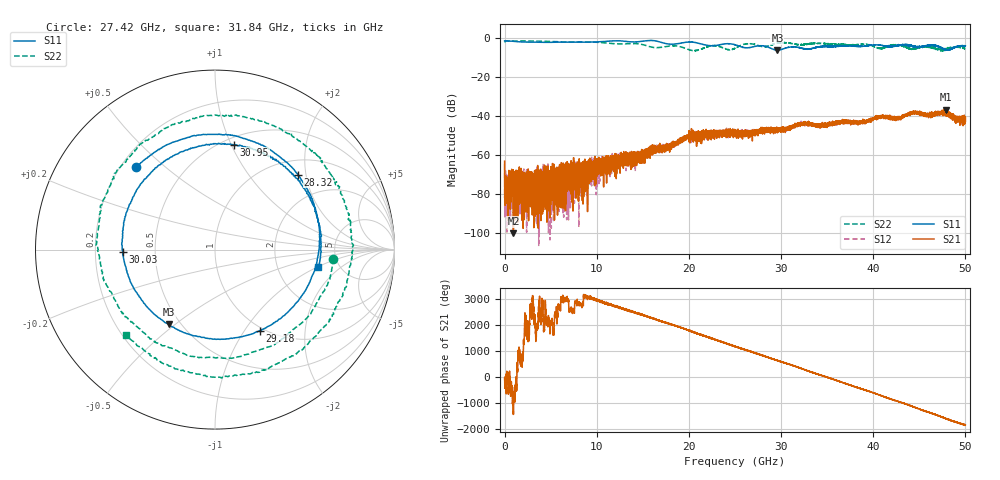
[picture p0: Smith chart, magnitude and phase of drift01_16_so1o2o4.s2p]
!Created with skrf (http://scikit-rf.org).
# Hz S RI R 50.0
!freq ReS11 ImS11 ReS21 ImS21 ReS12 ImS12 ReS22 ImS22
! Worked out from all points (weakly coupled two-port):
!   10001 points, 300 kHz to 50 GHz, reference 50 ohm
!   highest |S21| = -36.73 dB at 47.93 GHz (marker M1); lowest = -100.2 dB at 955.3 MHz (marker M2)
!   lowest |S11| = -6.2 dB at 29.61 GHz (marker M3), VSWR 2.92, Z = 21.7 - j23.8 ohm
!   |S11| at or under -10 dB: nowhere
!   |S22| runs from -6.7 to -1.4 dB; largest |S21 - S12| = 0.0038
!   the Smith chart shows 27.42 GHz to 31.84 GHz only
!   S11 on the Smith chart (normalised r, x): 27.42 GHz: 0.26, +0.40; 28.32 GHz: 1.32, +1.80; 29.18 GHz: 0.96, -1.18; 30.03 GHz: 0.32, -0.01; 30.95 GHz: 0.57, +1.02; 31.84 GHz: 3.46, -1.04
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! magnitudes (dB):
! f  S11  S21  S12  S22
! 300 kHz  -1.3  -63.1  -64.8  -2.1
! 255.3 MHz  -1.4  -76.8  -75.2  -1.4
! 955.3 MHz  -1.6  -100.2  -71.8  -1.5
! 5.695 GHz  -2.0  -74.6  -73.4  -1.7
! 8.335 GHz  -2.0  -65.9  -76.3  -1.8
! 16.67 GHz  -1.7  -56.3  -55.4  -4.8
! 20.22 GHz  -1.9  -51.8  -50.1  -6.1
! 22.6 GHz  -3.9  -50.0  -47.7  -3.8
! 25 GHz  -3.3  -50.0  -49.3  -5.1
! 27.42 GHz  -3.9  -48.1  -47.9  -3.6
! 28.32 GHz  -4.1  -47.0  -47.3  -4.2
! 29.18 GHz  -5.7  -47.0  -46.3  -3.1
! 29.61 GHz  -6.2  -46.6  -48.4  -2.5
! 30.03 GHz  -5.8  -47.7  -47.2  -2.3
! 30.95 GHz  -4.5  -45.4  -45.4  -2.5
! 31.84 GHz  -4.7  -44.1  -45.0  -3.2
! 33.34 GHz  -5.3  -44.7  -43.8  -2.6
! 41.67 GHz  -4.3  -40.0  -40.7  -4.4
! 44.43 GHz  -4.2  -37.6  -38.0  -5.2
! 46.49 GHz  -3.5  -39.3  -39.3  -5.1
! 47.93 GHz  -5.9  -36.7  -38.3  -5.3
! 50 GHz  -3.9  -40.9  -42.0  -5.4
